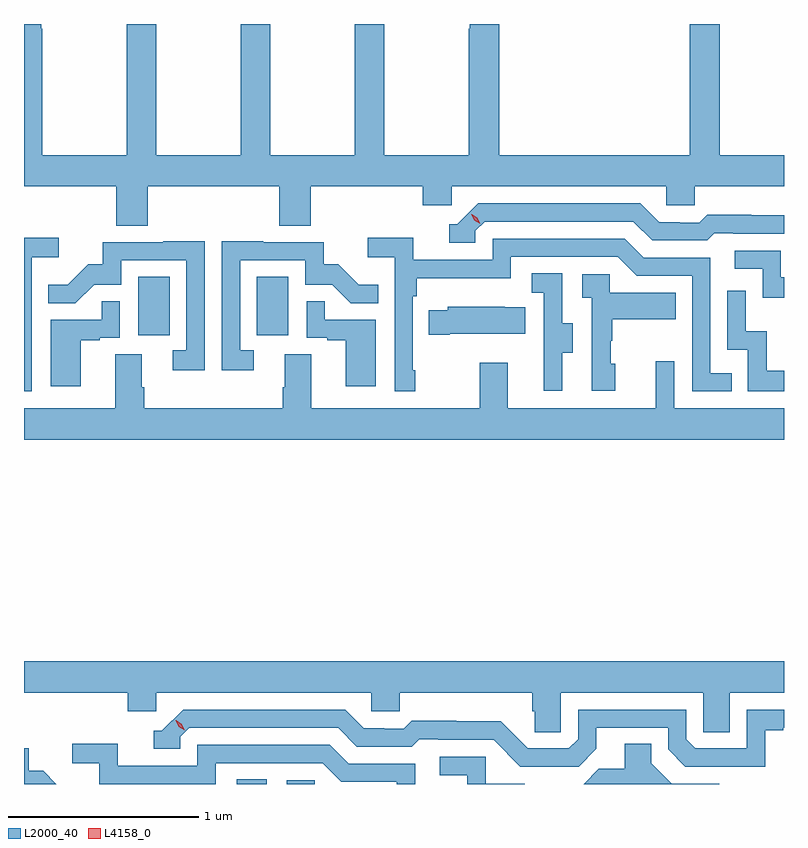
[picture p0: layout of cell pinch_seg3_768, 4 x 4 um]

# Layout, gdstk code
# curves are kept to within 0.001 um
import gdstk
lib = gdstk.Library(unit=1e-6, precision=1e-09)
def R(c, l, rs):  # rectangles x0, y0, x1, y1
    for r in rs: c.add(gdstk.rectangle(r[:2], r[2:], *l))
def P(c, l, *ps):  # polygons
    for p in ps: c.add(gdstk.Polygon(p, *l))
L2000_40 = (2000, 40)
L4158_0 = (4158, 0)

pinch_seg3_768 = lib.new_cell('pinch_seg3_768')
R(pinch_seg3_768, L2000_40, [(814.341,740.395,814.5,740.42), (814.605,740.395,814.752,740.415), (813.824,742.758,813.988,743.065), (814.448,742.758,814.612,743.065)])
P(pinch_seg3_768, L2000_40, [(813.872,743.54),(814.565,743.54),(814.565,743.332),(814.73,743.332),(814.73,743.54),(815.321,743.54),(815.321,743.442),(815.472,743.442),(815.472,743.54),(816.603,743.54),(816.603,743.442),(816.753,743.442),(816.753,743.54),(817.222,743.54),(817.222,743.704),(816.885,743.704),(816.885,744.395),(816.725,744.395),(816.725,743.704),(815.723,743.704),(815.723,744.395),(815.567,744.395),(815.567,744.371),(815.563,744.371),(815.563,743.704),(815.118,743.704),(815.118,744.395),(814.963,744.395),(814.963,743.704),(814.518,743.704),(814.518,744.395),(814.363,744.395),(814.363,743.704),(813.918,743.704),(813.918,744.395),(813.763,744.395),(813.763,743.704),(813.318,743.704),(813.318,744.371),(813.313,744.371),(813.313,744.395),(813.222,744.395),(813.222,743.54),(813.707,743.54),(813.707,743.332),(813.872,743.332)],
  [(815.598,743.307),(815.646,743.355),(816.429,743.355),(816.528,743.256),(816.817,743.256),(816.856,743.295),(816.955,743.295),(816.955,743.292),(817.222,743.292),(817.222,743.389),(817.05,743.389),(817.05,743.392),(816.817,743.392),(816.775,743.349),(816.672,743.349),(816.672,743.352),(816.565,743.352),(816.466,743.451),(815.613,743.451),(815.502,743.34),(815.459,743.34),(815.459,743.244),(815.598,743.244)],
  [(813.264,743.168),(813.406,743.168),(813.406,743.27),(813.222,743.27),(813.222,742.461),(813.264,742.461)],
  [(815.281,742.573),(815.268,742.573),(815.268,742.961),(815.288,742.961),(815.288,743.057),(815.784,743.057),(815.784,743.169),(816.348,743.169),(816.447,743.07),(816.738,743.07),(816.738,742.461),(816.947,742.461),(816.947,742.557),(816.834,742.557),(816.834,743.166),(816.484,743.166),(816.385,743.265),(815.688,743.265),(815.688,743.154),(815.27,743.154),(815.27,743.27),(815.031,743.27),(815.031,743.168),(815.172,743.168),(815.172,742.461),(815.281,742.461)],
  [(814.432,742.677),(814.359,742.677),(814.359,743.151),(814.701,743.151),(814.701,743.022),(814.845,743.022),(814.943,742.924),(815.087,742.924),(815.087,743.023),(814.983,743.023),(814.876,743.13),(814.8,743.13),(814.8,743.247),(814.481,743.247),(814.481,743.252),(814.263,743.252),(814.263,742.572),(814.432,742.572)],
  [(814.173,743.252),(813.955,743.252),(813.955,743.247),(813.637,743.247),(813.637,743.13),(813.56,743.13),(813.453,743.023),(813.349,743.023),(813.349,742.924),(813.493,742.924),(813.591,743.022),(813.735,743.022),(813.735,743.151),(814.077,743.151),(814.077,742.677),(814.005,742.677),(814.005,742.572),(814.173,742.572)],
  [(817.222,743.061),(817.206,743.061),(817.206,743.202),(816.963,743.202),(816.963,743.106),(817.11,743.106),(817.11,742.953),(817.222,742.953)],
  [(816.055,742.666),(816.109,742.666),(816.109,742.821),(816.054,742.821),(816.054,743.084),(815.895,743.084),(815.895,742.981),(815.958,742.981),(815.958,742.677),(815.957,742.677),(815.957,742.464),(816.055,742.464)],
  [(816.334,742.608),(816.309,742.608),(816.309,742.727),(816.319,742.727),(816.319,742.841),(816.653,742.841),(816.653,742.981),(816.306,742.981),(816.306,743.079),(816.159,743.079),(816.159,742.955),(816.21,742.955),(816.21,742.464),(816.334,742.464)],
  [(817.222,742.57),(817.13,742.57),(817.13,742.778),(817.02,742.778),(817.02,742.99),(816.924,742.99),(816.924,742.68),(817.032,742.68),(817.032,742.461),(817.222,742.461)],
  [(815.074,742.839),(814.805,742.839),(814.805,742.937),(814.71,742.937),(814.71,742.743),(814.817,742.743),(814.817,742.731),(814.916,742.731),(814.916,742.488),(815.074,742.488)],
  [(813.52,742.731),(813.62,742.731),(813.62,742.743),(813.726,742.743),(813.726,742.937),(813.631,742.937),(813.631,742.839),(813.362,742.839),(813.362,742.488),(813.52,742.488)],
  [(815.464,742.766),(815.861,742.766),(815.861,742.903),(815.753,742.903),(815.753,742.906),(815.451,742.906),(815.451,742.888),(815.353,742.888),(815.353,742.759),(815.464,742.759)],
  [(817.222,742.372),(816.645,742.372),(816.645,742.621),(816.548,742.621),(816.548,742.372),(815.767,742.372),(815.767,742.612),(815.62,742.612),(815.62,742.372),(814.735,742.372),(814.735,742.658),(814.595,742.658),(814.595,742.484),(814.583,742.484),(814.583,742.372),(813.854,742.372),(813.854,742.484),(813.841,742.484),(813.841,742.658),(813.701,742.658),(813.701,742.372),(813.222,742.372),(813.222,742.208),(817.222,742.208)],
  [(816.048,740.876),(816.798,740.876),(816.798,740.668),(816.937,740.668),(816.937,740.876),(817.222,740.876),(817.222,741.04),(813.222,741.04),(813.222,740.876),(813.767,740.876),(813.767,740.778),(813.918,740.778),(813.918,740.876),(815.049,740.876),(815.049,740.778),(815.199,740.778),(815.199,740.876),(815.897,740.876),(815.897,740.778),(815.911,740.778),(815.911,740.668),(816.048,740.668)],
  [(817.123,740.679),(817.219,740.679),(817.219,740.691),(817.222,740.691),(817.222,740.787),(817.026,740.787),(817.026,740.583),(816.756,740.583),(816.708,740.631),(816.708,740.787),(816.138,740.787),(816.138,740.631),(816.09,740.583),(815.874,740.583),(815.732,740.725),(815.496,740.725),(815.496,740.728),(815.263,740.728),(815.221,740.685),(815.118,740.685),(815.118,740.688),(815.011,740.688),(814.912,740.787),(814.059,740.787),(813.948,740.676),(813.905,740.676),(813.905,740.58),(814.044,740.58),(814.044,740.643),(814.092,740.691),(814.875,740.691),(814.974,740.592),(815.263,740.592),(815.302,740.631),(815.401,740.631),(815.401,740.628),(815.694,740.628),(815.835,740.487),(816.141,740.487),(816.235,740.581),(816.235,740.691),(816.612,740.691),(816.612,740.577),(816.702,740.487),(817.123,740.486)],
  [(816.88,740.397),(816.63,740.397),(816.523,740.504),(816.523,740.606),(816.383,740.606),(816.383,740.474),(816.248,740.474),(816.169,740.395),(816.88,740.395)],
  [(814.23,740.505),(814.794,740.505),(814.893,740.406),(815.184,740.406),(815.184,740.395),(815.28,740.395),(815.28,740.502),(814.93,740.502),(814.831,740.601),(814.134,740.601),(814.134,740.49),(813.716,740.49),(813.716,740.606),(813.477,740.606),(813.477,740.504),(813.618,740.504),(813.618,740.395),(814.23,740.395)],
  [(813.322,740.466),(813.246,740.466),(813.246,740.583),(813.222,740.583),(813.222,740.395),(813.393,740.395)],
  [(815.857,740.397),(815.652,740.397),(815.652,740.538),(815.409,740.538),(815.409,740.442),(815.556,740.442),(815.556,740.395),(815.857,740.395)])
P(pinch_seg3_768, L4158_0, [(815.624,743.343),(815.593,743.362),(815.577,743.395),(815.577,743.395),(815.578,743.395),(815.608,743.376),(815.624,743.343),(815.624,743.343)],
  [(814.068,740.677),(814.037,740.697),(814.021,740.73),(814.021,740.73),(814.022,740.73),(814.052,740.71),(814.068,740.677),(814.068,740.677)])

lib.write_gds('pinch_seg3_768.gds')
